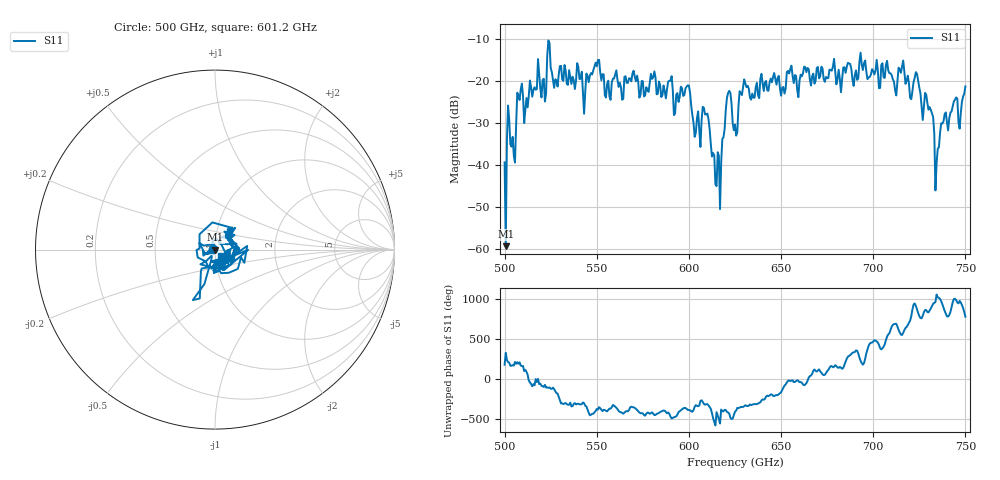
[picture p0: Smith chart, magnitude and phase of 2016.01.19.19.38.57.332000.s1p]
!Created with skrf (http://scikit-rf.org).
# GHz S RI R 50.0
!freq ReS11 ImS11
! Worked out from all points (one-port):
!   401 points, 500 GHz to 750 GHz, reference 50 ohm
!   lowest |S11| = -59.3 dB at 500.6 GHz (marker M1), VSWR 1.00, Z = 50.1 - j0.0636 ohm
!   |S11| at or under -10 dB: start of sweep to end of sweep
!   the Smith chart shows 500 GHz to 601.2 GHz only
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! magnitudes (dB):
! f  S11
! 500 GHz  -39.3
! 500.6 GHz  -59.3
! 502.5 GHz  -29.1
! 505 GHz  -37.7
! 508.1 GHz  -24.4
! 521.2 GHz  -19.4
! 524.4 GHz  -10.9
! 527.5 GHz  -19.5
! 531.2 GHz  -19.6
! 543.8 GHz  -22.5
! 550 GHz  -16.4
! 562.5 GHz  -20.3
! 580.6 GHz  -19.0
! 593.8 GHz  -22.8
! 599.4 GHz  -21.0
! 605 GHz  -27.2
! 608.8 GHz  -27.9
! 615.6 GHz  -36.9
! 621.2 GHz  -22.8
! 625 GHz  -30.3
! 630.6 GHz  -20.5
! 656.2 GHz  -18.7
! 687.5 GHz  -15.8
! 718.8 GHz  -18.6
! 729.4 GHz  -25.2
! 734.4 GHz  -39.5
! 738.1 GHz  -29.5
! 750 GHz  -21.2
